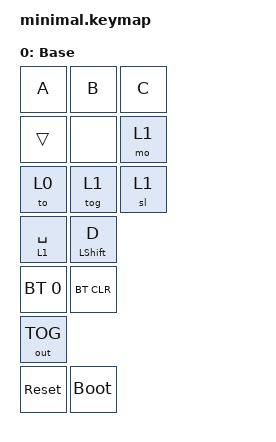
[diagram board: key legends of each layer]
// Minimal one-layer keymap that exercises every builtin behavior in v1.
#include <dt-bindings/zmk/keys.h>
#include <dt-bindings/zmk/bt.h>
#include <behaviors.dtsi>

#define DEFAULT 0

/ {
    keymap {
        compatible = "zmk,keymap";

        default_layer {
            display-name = "Base";
            bindings = <
                &kp A     &kp B     &kp C
                &trans    &none     &mo 1
                &to 0     &tog 1    &sl 1
                &lt 1 SPACE  &mt LSHFT D
                &bt BT_SEL 0   &bt BT_CLR
                &out OUT_TOG
                &sys_reset    &bootloader
            >;
        };
    };
};
